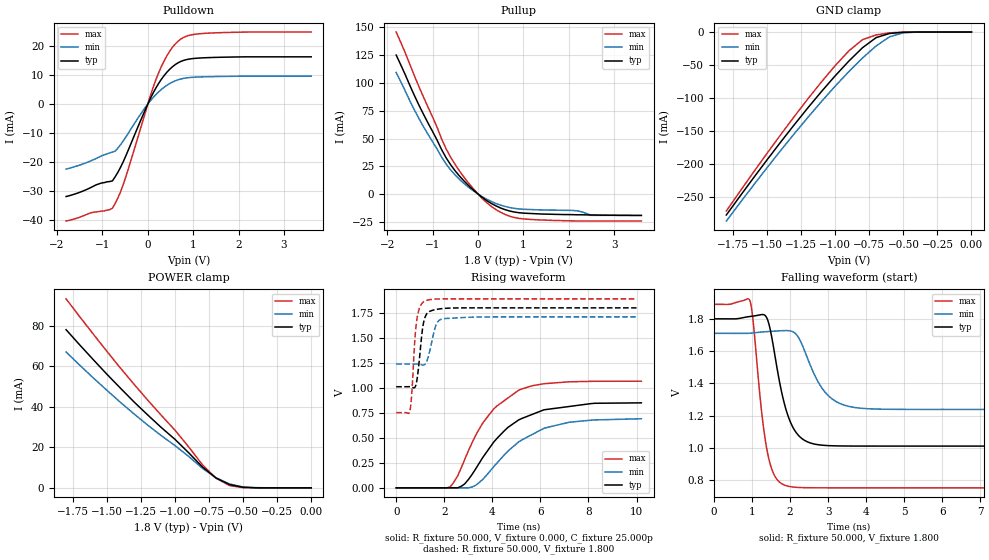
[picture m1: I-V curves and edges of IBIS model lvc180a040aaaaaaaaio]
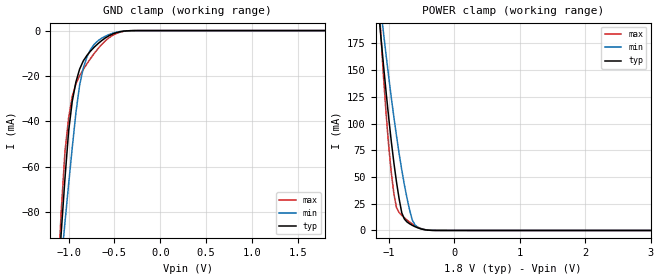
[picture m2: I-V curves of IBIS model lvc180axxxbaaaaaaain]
| IBIS Models Generator: Lattice Radiant Software (64-bit) 2023.1.1.200.1
| Report Generate Date: Sep  4 2024
| Report Generate Time: 08:55:36
|IBIS file ice40up.ibs
|Lattice Semiconductor Corporation
[IBIS ver]   4.2
[File Name]   RevealTest_impl_1.ibs
[File Rev]   2.0
[Date]   1/26/2018
[Source]   Simulation
[Notes]   Final IBIS models
   The data below was generated using simulation of the
   input/output model files for the silicon.  Therefore,
   the data below is for reference and initial design
   purposes only.
|   The model applies to iCE40 ULTRA PLUS.
   Lattice Semiconductor grants permission to use this
   data for use in printed circuit design using this
   Lattice programmable logic device.  Other use of this
   code, including the selling or duplication of any
   portion is strictly prohibited.
|   NAMING CONVENTION
   The IBIS [Model] header is limited by the specification to a
   total of characters.  With such a set of characters available
   for naming models it becomes important to attempt to
   meaningfully encode the IO standards so they fit within the
   twenty character limit.  It would seem that twenty characters
   would provide room enough for describing IO's.  However, the
   PLD IO structure continues to grow more and more complex.  The
   complexity is making the twenty characters insuffiently
   descriptive.  In order to overcome this issue the naming
   convention described below is implemented to resolve the issue.
The twenty character space is managed as follows:
   bbbvvvsdddprtaaaoixx
   b = standard
   v = voltage (x.xx V)
   s = slew code
   d = drive (xx.x ma)
   p = pullmode code
   r = impedance
   t = mipi hard dphy mode
   o = diff resistor code
   i = diff  current code
   x = reserved
   standard
   LVCMOS   lvc
   lvdse   lve
   slew
   na   a
   fast   f
   slow   s
   pullmode
   off   a
   100k   b
   3p3k   i
   6p8k   j
   10k   k
   impedance
   off   a
   mipi hard dphy mode
   off   a
   lp   l
   hs   h
   differential resistor
   off   a
   100   b
   differential current
   NA   a
   3.5   c
   Reserved   IO type
   in   input only (mipi: rx)
   ou   output (mipi: tx)
   io   I/O
   od   Open drain
   on   Inverting differential I/O
   (signal name only)
   op   Non-Inverting differential I/O
   (signal name only)
   Lattice Semiconductor Corporation
   5555 NE Moore Court
   Hillsboro, OR 97214
   U.S.A
   TEL: 1-800-Lattice (USA and Canada)
   408-826-6000 (other locations)
   web: http://www.latticesemi.com/
   email: techsupport@latticesemi.com
[Disclaimer] This IBIS source code is intended as a design reference
   which illustrates how the Lattice Semiconductor device operates.
   It is the user's responsibility to verify their design for
   consistency and functionality through the use of formal
   verification methods.  Lattice Semiconductor provides no warranty
   regarding the use or functionality of this data.
[Copyright]   Copyright 2018 by Lattice Semiconductor Corporation
|   Component ice40_ultra_plus
[Component]   ice40_ultra_plus
[Manufacturer]   UMC
[Package]
| SG48
| variable   Typ   Min   Max
R_pkg   294.15m   225.91m   395.17m
L_pkg   2.652nH   1.989nH   3.504nH
C_pkg   0.2807pF   0.2236pF   0.3481pF
[Pin]  signal_name   model_name   R_pin   L_pin   C_pin
15   JTAG_TCK   lvc180axxxbaaaaaaain
17   JTAG_TMS   lvc180axxxbaaaaaaain
16   JTAG_TDO   lvc180a040aaaaaaaaio
14   JTAG_TDI   lvc180axxxbaaaaaaain
| Models and submodels in the file (2): lvc180a040aaaaaaaaio (I/O), lvc180axxxbaaaaaaain (Input)
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[Model]   lvc180a040aaaaaaaaio
Model_type   I/O
Polarity   Non-Inverting
Enable   Active-High
Vinl =   0.63V
Vinh =   1.17V
Vmeas =   0.9V
Cref =  15.00pF
Rref =   1.00M
Vref =  0.000V
C_comp   3.30pF   3.17pF   3.43pF
[Temperature Range]   25.00   85   -40.00
|[Voltage Range]   1.8V   1.72V   1.87V
[Voltage Range]   1.8V   1.71V   1.89V
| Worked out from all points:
|   slope of the pulldown table from 0 to 0.27 V, typ, clamps not added: 34.2 ohm
|   slope of the pullup table from 0 to 0.27 V, typ, clamps not added: 34 ohm
|   GND clamp passes 1 mA (typ) near -0.54 V on its own axis
|   POWER clamp passes 1 mA (typ) near -0.55 V on its own axis
|   rising waveform, R_fixture 50.000, V_fixture 0.000, C_fixture 25.000p: 20-80 % time 1.84ns typ, 2.01ns min, 1.66ns max; typ from 0 V to 0.85 V
|   rising waveform, R_fixture 50.000, V_fixture 1.800: 20-80 % time 218ps typ, 280ps min, 190ps max; typ from 1.01 V to 1.8 V
|   falling waveform, R_fixture 50.000, V_fixture 1.800: 20-80 % time 443ps typ, 612ps min, 321ps max; typ from 1.8 V to 1.01 V
[Pulldown]
|Voltage   I(typ)   I(min)   I(max)
-1.8V     -32mA      -22.51mA   -40.47mA
-1.14V    -27.96mA   -18.85mA   -37.35mA
-780mV    -26.6mA    -16.62mA   -36.06mA
-720mV    -25.2mA    -16.33mA   -34.41mA
-540mV    -19.92mA   -12.73mA   -27.82mA
0V        471.5fA    10.3pA     394.2fA
240mV     7.185mA    4.236mA    10.86mA
480mV     12.01mA    7.073mA    18.23mA
720mV     14.7mA     8.652mA    22.42mA
960mV     15.68mA    9.233mA    23.95mA
1.32V     16.07mA    9.47mA     24.53mA
3.6V      16.34mA    9.645mA    24.93mA
[Pullup]
| voltage I(typ) I(min) I(max)
-1.8V     125.1mA    109.5mA    145.9mA
-1.2V     71.9mA     60.7mA     87.4mA
-800mV    40mA       33.3mA     49.6mA
-600mV    26.3mA     21.7mA     33.1mA
-200mV    7.4mA      5.9mA      9.6mA
100mV     -3.2mA     -2.6mA     -4.3mA
300mV     -8.6mA     -6.8mA     -11.3mA
700mV     -15.3mA    -12.2mA    -20mA
1V        -17.2mA    -13.7mA    -22.4mA
2.1V      -18.6mA    -14.8mA    -24.2mA
2.5V      -18.9mA    -19.2mA    -24.3mA
3.6V      -19.3mA    -19.2mA    -24.3mA
[GND_clamp]
| voltage I(typ) I(min) I(max)
-1.8V     -276.5mA   -285.6mA   -270.4mA
-1.5V     -192.9mA   -204.8mA   -183mA
-1.2V     -114.2mA   -128.7mA   -100.7mA
-1V       -66mA      -81.6mA    -50.6mA
-900mV    -43.8mA    -59.7mA    -28.4mA
-800mV    -23.7mA    -39.2mA    -11.5mA
-700mV    -8.4mA     -21mA      -4.4mA
-600mV    -2.1mA     -7.1mA     -1.2mA
-500mV    -400uA     -1.2mA     -100uA
-400mV    0A         -100uA     0A
0V        0A         0A         0A
[POWER_clamp]
| voltage I(typ) I(min) I(max)
-1.8V     78mA       67mA       93.2mA
-1.5V     56mA       48.1mA     67.3mA
-1.3V     42.3mA     36.4mA     51mA
-1.1V     29.7mA     25.7mA     35.7mA
-1V       23.9mA     20.8mA     28.4mA
-800mV    10.4mA     9.7mA      11.5mA
-700mV    4.9mA      5mA        4.8mA
-600mV    1.6mA      1.9mA      1.1mA
-500mV    300uA      400uA      100uA
0V        0A         0A         0A
[Ramp]
| variable   typ   min   max
dV/dt_r 0.519/1.85n  0.414/1.999n  0.64/1.663n
dV/dt_f 0.586/1.8n  0.455/1.911n  0.742/1.543n
R_load = 50
[Rising Waveform]
R_fixture = 50.000
V_fixture = 0.000
V_fixture_min = 0.000
V_fixture_max = 0.000
C_fixture = 25.000p
L_fixture = 0.000
|  time   V(typ)   V(min)   V(max)
0s        0V         100uV      -100uV
2.25ns    0V         100uV      10.2mV
2.55ns    0V         100uV      116.4mV
2.85ns    39.62mV    100uV      283.8mV
3.6ns     303.1mV    84.1mV     647.8mV
4.2ns     496.7mV    250.3mV    820.4mV
5.1ns     680.2mV    460.8mV    977.1mV
6.15ns    780.6mV    595.9mV    1.041V
7.21ns    814mV      656.3mV    1.06V
10.2ns    850mV      690.9mV    1.067V
[Rising Waveform]
R_fixture= 50.000
V_fixture= 1.800
V_fixture_min= 1.710
V_fixture_max= 1.890
|time   V(typ)   V(min)   V(max)
0s        1.011V     1.238V     752.3mV
560ps     1.012V     1.238V     761.3mV
640ps     1.008V     1.238V     921.8mV
780ps     1.006V     1.239V     1.495V
845ps     1.056V     1.239V     1.658V
1.075ns   1.553V     1.23V      1.845V
1.185ns   1.695V     1.233V     1.867V
1.642ns   1.783V     1.618V     1.888V
1.891ns   1.792V     1.688V     1.89V
10ns      1.8V       1.71V      1.89V
[Falling Waveform]
R_fixture= 50.000
V_fixture= 1.800
V_fixture_min= 1.710
V_fixture_max= 1.890
|time   V(typ)   V(min)   V(max)
0s        1.8V       1.71V      1.89V
946ps     1.815V     1.711V     1.91V
1.376ns   1.811V     1.72V      1.009V
1.556ns   1.635V     1.723V     845.5mV
1.806ns   1.316V     1.727V     774.6mV
2.046ns   1.141V     1.722V     758.4mV
2.329ns   1.055V     1.632V     753.7mV
2.876ns   1.016V     1.359V     752.4mV
3.548ns   1.012V     1.257V     752.3mV
10ns      1.011V     1.238V     752.3mV
[Model] lvc180axxxbaaaaaaain
Model_type Input
Polarity   Non-Inverting
Vinl =  0.630V
Vinh =  1.170V
C_comp   3.30pF   3.17pF   3.43pF
[Temperature Range]   25.000   0.125k   -40.000
[Voltage Range]   1.800V   1.710V   1.890V
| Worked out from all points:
|   GND clamp passes 1 mA (typ) near -0.48 V on its own axis
|   POWER clamp passes 1 mA (typ) near -0.48 V on its own axis
[GND_clamp]
|Voltage   I(typ)   I(min)   I(max)
-1.8V     -588.7mA   -460.2mA   -776.6mA
-1.12V    -113.2mA   -120.2mA   -111.9mA
-1.08V    -88.73mA   -102.2mA   -79.16mA
-1.04V    -65.39mA   -84.72mA   -53.46mA
-1V       -44.34mA   -67.8mA    -38.45mA
-960mV    -31.11mA   -51.56mA   -29mA
-920mV    -22.61mA   -36.09mA   -23.41mA
-880mV    -17mA      -24.08mA   -19.91mA
-800mV    -10.93mA   -11.58mA   -14.64mA
-640mV    -4.438mA   -3.387mA   -6.152mA
-360mV    -108.4uA   -101.9uA   -131.1uA
1.8V      0A         0A         0A
[POWER_clamp]
|Voltage   I(typ)   I(min)   I(max)
-1.8V     714.1mA    632.1mA    1.122A
-1.16V    209.1mA    229.4mA    225.8mA
-1.12V    181.6mA    207.1mA    183.6mA
-1.08V    155.1mA    185.3mA    144.6mA
-1V       105.6mA    143.8mA    79.28mA
-960mV    83.25mA    124.2mA    54.12mA
-880mV    44.99mA    88.06mA    21.21mA
-800mV    16.44mA    56.48mA    14.1mA
-640mV    4.792mA    9.816mA    6.046mA
-560mV    2.546mA    3.061mA    3.181mA
-320mV    52.57uA    91.81uA    52.14uA
3.6V      -18.59uA   -11.5uA    -29.6uA
